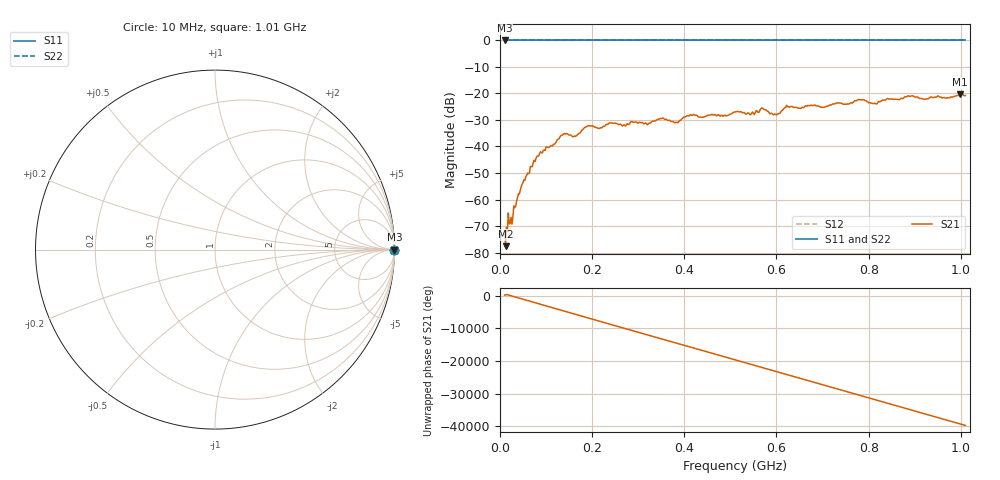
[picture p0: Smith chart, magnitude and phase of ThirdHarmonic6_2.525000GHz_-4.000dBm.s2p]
! 8/17/2025 4:59:46 AM
! C:\ANRITSUVNA\TEMP\TEMP.S2P
! CHANNEL.1
! TR.MEASUREMENT
! RAW.DATA
! RF.CORRECTION.OFF
! AVERAGING.OFF
! IF.BANDWIDTH: 5KHZ
! SWEEPTYPE:  FREQ.SWEEP(Linear)
! Reference Plane Port Info
! PORT:  PORT1  PORT2
! DISTANCE:  0  m  0  m
! TIME:  0  s  0  s
! PHASE.OFFSET:  0  deg.  0  deg.
! LOSS:  0  dB  0  dB
! REF.LOSS:  0  dB  0  dB
! REF.FREQ:  0  Hz  0  Hz
! Power Info
! POWER:  -20  dBm  -20  dBm
! EFF.POWER:  -20  dBm  -20  dBm
! SOURCE.ATTEN:  0  dB  0  dB
! TEST.ATTEN:  0  dB  0  dB
# GHZ S RI R 50.0
! FREQ.GHZ  S11RE  S11IM  S21RE  S21IM  S12RE  S12IM  S22RE  S22IM
!; PortSelection: Port_12
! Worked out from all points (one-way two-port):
!   501 points, 10 MHz to 1.01 GHz, reference 50 ohm
!   highest |S21| = -20.24 dB at 998 MHz (marker M1); lowest = -77.6 dB at 12 MHz (marker M2)
!   lowest |S11| = 0.0 dB at 10 MHz (marker M3)
!   |S11| at or under -10 dB: nowhere
!   |S22| runs from 0.0 to 0.0 dB; largest |S21 - S12| = 1.1
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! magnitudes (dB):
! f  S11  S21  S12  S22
! 10 MHz  0.0  -72.2  0.0  0.0
! 12 MHz  0.0  -77.6  0.0  0.0
! 18 MHz  0.0  -65.1  0.0  0.0
! 24 MHz  0.0  -66.7  0.0  0.0
! 48 MHz  0.0  -54.3  0.0  0.0
! 84 MHz  0.0  -43.6  0.0  0.0
! 136 MHz  0.0  -35.6  0.0  0.0
! 162 MHz  0.0  -36.0  0.0  0.0
! 178 MHz  0.0  -33.8  0.0  0.0
! 344 MHz  0.0  -29.7  0.0  0.0
! 382 MHz  0.0  -30.9  0.0  0.0
! 416 MHz  0.0  -28.3  0.0  0.0
! 510 MHz  0.0  -26.9  0.0  0.0
! 548 MHz  0.0  -27.0  0.0  0.0
! 570 MHz  0.0  -25.5  0.0  0.0
! 598 MHz  0.0  -27.8  0.0  0.0
! 622 MHz  0.0  -24.5  0.0  0.0
! 678 MHz  0.0  -24.6  0.0  0.0
! 814 MHz  0.0  -23.7  0.0  0.0
! 844 MHz  0.0  -22.1  0.0  0.0
! 998 MHz  0.0  -20.2  0.0  0.0
! 1.01 GHz  0.0  -20.8  0.0  0.0
